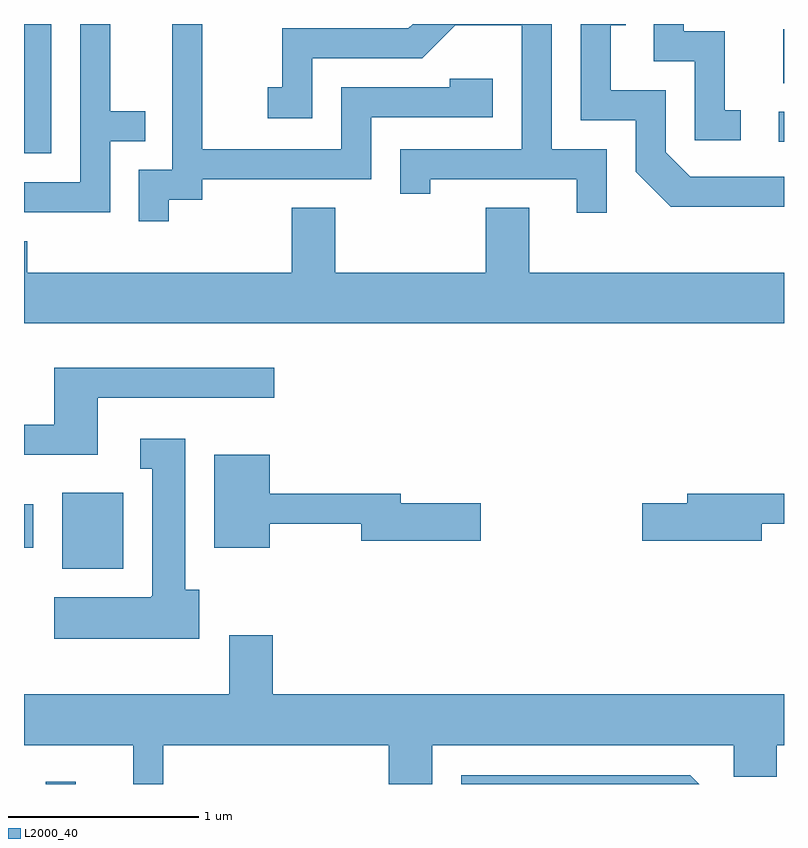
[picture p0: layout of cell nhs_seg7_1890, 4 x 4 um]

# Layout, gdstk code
import gdstk
lib = gdstk.Library(unit=1e-6, precision=1e-09)
def R(c, l, rs):  # rectangles x0, y0, x1, y1
    for r in rs: c.add(gdstk.rectangle(r[:2], r[2:], *l))
def P(c, l, *ps):  # polygons
    for p in ps: c.add(gdstk.Polygon(p, *l))
L2000_40 = (2000, 40)

nhs_seg7_1890 = lib.new_cell('nhs_seg7_1890')
R(nhs_seg7_1890, L2000_40, [(241.726,1796.252,241.884,1796.263), (241.811,1797.386,242.134,1797.784), (241.611,1797.496,241.659,1797.724), (241.611,1799.571,241.754,1800.252), (245.583,1799.631,245.611,1799.789), (245.606,1799.941,245.611,1800.224)])
P(nhs_seg7_1890, L2000_40, [(242.374,1799.326),(242.549,1799.326),(242.549,1799.436),(243.439,1799.436),(243.439,1799.761),(244.079,1799.761),(244.079,1799.964),(243.851,1799.964),(243.851,1799.919),(243.281,1799.919),(243.281,1799.594),(242.549,1799.594),(242.549,1800.252),(242.241,1800.252),(242.241,1800.251),(242.391,1800.251),(242.391,1799.484),(242.216,1799.484),(242.216,1799.213),(242.374,1799.213)],
  [(244.679,1799.594),(244.389,1799.594),(244.389,1800.252),(243.657,1800.252),(243.634,1800.229),(242.971,1800.229),(242.971,1799.919),(242.893,1799.919),(242.893,1799.756),(243.129,1799.756),(243.129,1800.071),(243.707,1800.071),(243.882,1800.246),(244.231,1800.246),(244.231,1799.594),(243.591,1799.594),(243.591,1799.358),(243.749,1799.358),(243.749,1799.436),(244.521,1799.436),(244.521,1799.258),(244.679,1799.258)],
  [(245.383,1799.799),(245.299,1799.799),(245.299,1800.214),(245.084,1800.214),(245.084,1800.252),(244.926,1800.252),(244.926,1800.056),(245.141,1800.056),(245.141,1799.641),(245.383,1799.641)],
  [(242.064,1799.636),(242.248,1799.636),(242.248,1799.794),(242.064,1799.794),(242.064,1800.252),(241.906,1800.252),(241.906,1799.419),(241.611,1799.419),(241.611,1799.261),(242.064,1799.261)],
  [(245.611,1799.449),(245.117,1799.449),(244.989,1799.577),(244.989,1799.904),(244.699,1799.904),(244.699,1800.246),(244.778,1800.246),(244.778,1800.252),(244.541,1800.252),(244.541,1799.746),(244.831,1799.746),(244.831,1799.474),(245.014,1799.291),(245.611,1799.291)],
  [(245.611,1798.944),(244.269,1798.944),(244.269,1799.284),(244.041,1799.284),(244.041,1798.944),(243.249,1798.944),(243.249,1799.284),(243.021,1799.284),(243.021,1798.944),(241.629,1798.944),(241.629,1799.109),(241.611,1799.109),(241.611,1798.676),(245.611,1798.676)],
  [(241.999,1798.286),(242.928,1798.286),(242.928,1798.444),(241.771,1798.444),(241.771,1798.144),(241.611,1798.144),(241.611,1797.986),(241.999,1797.986)],
  [(242.534,1797.274),(242.459,1797.274),(242.459,1798.069),(242.223,1798.069),(242.223,1797.911),(242.286,1797.911),(242.286,1797.24),(242.28,1797.24),(242.28,1797.234),(241.771,1797.234),(241.771,1797.016),(242.534,1797.016)],
  [(242.904,1797.621),(243.386,1797.621),(243.386,1797.531),(244.014,1797.531),(244.014,1797.729),(243.594,1797.729),(243.594,1797.779),(242.904,1797.779),(242.904,1797.984),(242.611,1797.984),(242.611,1797.496),(242.904,1797.496)],
  [(245.494,1797.621),(245.611,1797.621),(245.611,1797.779),(245.101,1797.779),(245.101,1797.729),(244.866,1797.729),(244.866,1797.531),(245.494,1797.531)],
  [(242.344,1796.456),(243.531,1796.456),(243.531,1796.252),(243.759,1796.252),(243.759,1796.456),(245.346,1796.456),(245.346,1796.291),(245.574,1796.291),(245.574,1796.456),(245.611,1796.456),(245.611,1796.724),(242.919,1796.724),(242.919,1797.034),(242.691,1797.034),(242.691,1796.724),(241.611,1796.724),(241.611,1796.456),(242.186,1796.456),(242.186,1796.252),(242.344,1796.252)],
  [(245.117,1796.299),(243.911,1796.299),(243.911,1796.252),(245.164,1796.252)])

lib.write_gds('nhs_seg7_1890.gds')
